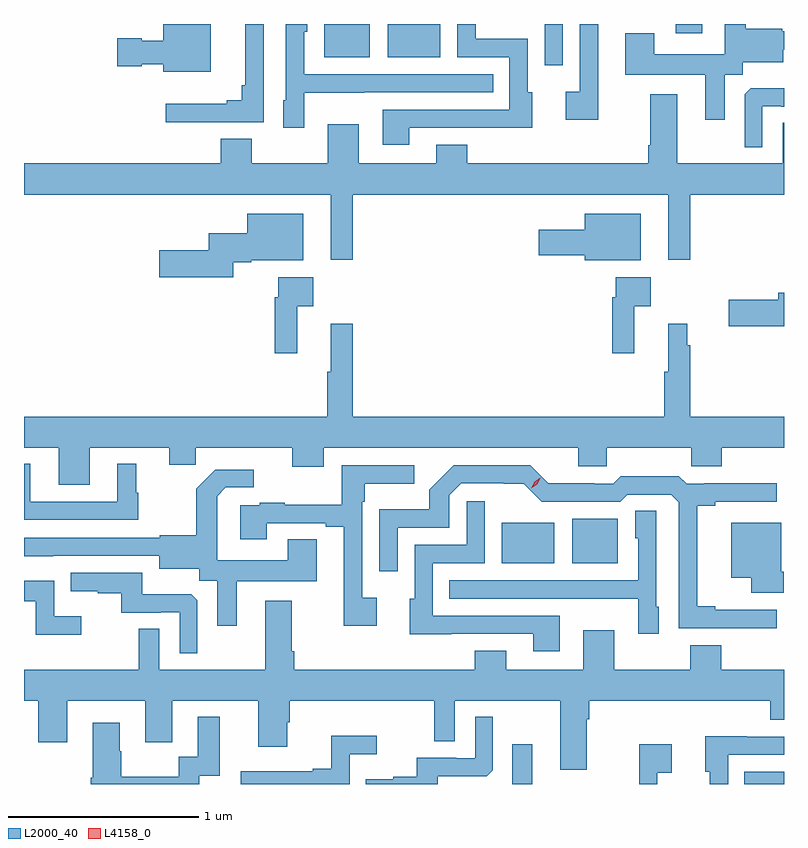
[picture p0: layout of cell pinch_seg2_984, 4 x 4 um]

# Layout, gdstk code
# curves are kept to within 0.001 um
import gdstk
lib = gdstk.Library(unit=1e-6, precision=1e-09)
def R(c, l, rs):  # rectangles x0, y0, x1, y1
    for r in rs: c.add(gdstk.rectangle(r[:2], r[2:], *l))
def P(c, l, *ps):  # polygons
    for p in ps: c.add(gdstk.Polygon(p, *l))
L2000_40 = (2000, 40)
L4158_0 = (4158, 0)

pinch_seg2_984 = lib.new_cell('pinch_seg2_984')
R(pinch_seg2_984, L2000_40, [(161.867,584.594,161.971,584.803), (163.087,584.594,163.296,584.658), (161.81,585.755,162.088,585.97), (162.182,585.755,162.421,585.991), (162.036,588.378,162.132,588.594), (160.877,588.419,161.116,588.594), (161.21,588.419,161.488,588.594), (162.725,588.546,162.865,588.594)])
P(pinch_seg2_984, L2000_40, [(162.319,588.594),(162.222,588.594),(162.222,588.238),(162.147,588.238),(162.147,588.09),(162.319,588.09)],
  [(160.279,588.594),(160.028,588.594),(160.028,588.505),(159.915,588.505),(159.915,588.518),(159.786,588.518),(159.786,588.371),(159.915,588.371),(159.915,588.383),(160.028,588.383),(160.028,588.344),(160.279,588.344)],
  [(160.557,588.594),(160.46,588.594),(160.46,588.271),(160.441,588.271),(160.441,588.194),(160.364,588.194),(160.364,588.175),(160.041,588.175),(160.041,588.078),(160.557,588.078)],
  [(162.985,588.328),(163.08,588.328),(163.08,588.392),(163.291,588.392),(163.291,588.459),(163.296,588.459),(163.296,588.555),(163.287,588.555),(163.287,588.568),(163.095,588.568),(163.095,588.594),(162.984,588.594),(162.984,588.436),(162.613,588.436),(162.613,588.545),(162.461,588.545),(162.461,588.326),(162.881,588.326),(162.881,588.09),(162.985,588.09)],
  [(160.77,588.233),(161.087,588.233),(161.087,588.234),(161.765,588.234),(161.765,588.33),(160.77,588.33),(160.77,588.552),(160.786,588.552),(160.786,588.594),(160.674,588.594),(160.674,588.192),(160.661,588.192),(160.661,588.048),(160.77,588.048)],
  [(161.323,588.048),(161.753,588.048),(161.753,588.047),(161.971,588.047),(161.971,588.234),(161.946,588.234),(161.946,588.516),(161.673,588.516),(161.673,588.594),(161.577,588.594),(161.577,588.42),(161.85,588.42),(161.85,588.144),(161.183,588.144),(161.183,587.958),(161.323,587.958)],
  [(163.182,588.162),(163.282,588.162),(163.282,588.159),(163.296,588.159),(163.296,588.257),(163.121,588.257),(163.089,588.225),(163.089,587.945),(163.182,587.945)],
  [(161.027,587.696),(162.686,587.696),(162.686,587.352),(162.803,587.352),(162.803,587.696),(163.296,587.696),(163.296,588.074),(163.29,588.074),(163.29,587.86),(162.733,587.86),(162.733,588.223),(162.593,588.223),(162.593,587.956),(162.581,587.956),(162.581,587.86),(161.629,587.86),(161.629,587.959),(161.465,587.959),(161.465,587.86),(161.059,587.86),(161.059,588.067),(160.895,588.067),(160.895,587.86),(160.495,587.86),(160.495,587.989),(160.331,587.989),(160.331,587.86),(159.296,587.86),(159.296,587.696),(160.91,587.696),(160.91,587.352),(161.027,587.352)],
  [(162.541,587.596),(162.248,587.596),(162.248,587.512),(162.006,587.512),(162.006,587.378),(162.248,587.378),(162.248,587.351),(162.541,587.351)],
  [(160.396,587.339),(160.492,587.339),(160.492,587.351),(160.765,587.351),(160.765,587.596),(160.472,587.596),(160.472,587.494),(160.268,587.494),(160.268,587.403),(160.008,587.403),(160.008,587.261),(160.396,587.261)],
  [(160.733,587.108),(160.819,587.108),(160.819,587.26),(160.635,587.26),(160.635,587.156),(160.615,587.156),(160.615,586.86),(160.733,586.86)],
  [(162.509,587.108),(162.595,587.108),(162.595,587.26),(162.411,587.26),(162.411,587.156),(162.391,587.156),(162.391,586.86),(162.509,586.86)],
  [(163.296,587.18),(163.265,587.18),(163.265,587.144),(163.005,587.144),(163.005,587.002),(163.296,587.002)],
  [(159.643,586.364),(160.061,586.364),(160.061,586.274),(160.199,586.274),(160.199,586.364),(160.709,586.364),(160.709,586.265),(160.873,586.265),(160.873,586.364),(162.212,586.364),(162.212,586.266),(162.363,586.266),(162.363,586.364),(162.808,586.364),(162.808,586.266),(162.968,586.266),(162.968,586.364),(163.296,586.364),(163.296,586.528),(162.803,586.528),(162.803,586.904),(162.786,586.904),(162.786,587.017),(162.686,587.017),(162.686,586.764),(162.667,586.764),(162.667,586.528),(161.027,586.528),(161.027,587.017),(160.91,587.017),(160.91,586.764),(160.891,586.764),(160.891,586.528),(159.296,586.528),(159.296,586.364),(159.479,586.364),(159.479,586.17),(159.643,586.17)],
  [(159.898,586.128),(159.886,586.128),(159.886,586.279),(159.788,586.279),(159.788,586.08),(159.328,586.08),(159.328,586.279),(159.296,586.279),(159.296,585.984),(159.898,585.984)],
  [(161.152,585.574),(161.076,585.574),(161.076,586.079),(161.089,586.079),(161.089,586.175),(161.35,586.175),(161.35,586.272),(160.968,586.272),(160.968,586.064),(160.669,586.064),(160.669,586.075),(160.537,586.075),(160.537,586.062),(160.433,586.062),(160.433,585.882),(160.573,585.882),(160.573,585.966),(160.883,585.966),(160.883,585.948),(160.979,585.948),(160.979,585.426),(161.152,585.426)],
  [(163.258,585.51),(162.934,585.51),(162.934,585.53),(162.839,585.53),(162.839,586.058),(162.934,586.058),(162.934,586.08),(163.258,586.08),(163.258,586.178),(162.877,586.178),(162.877,586.173),(162.783,586.173),(162.743,586.213),(162.436,586.213),(162.396,586.173),(162.296,586.173),(162.296,586.178),(162.056,586.178),(161.961,586.272),(161.558,586.272),(161.428,586.142),(161.428,586.039),(161.166,586.039),(161.166,585.714),(161.262,585.714),(161.262,585.942),(161.535,585.942),(161.535,586.113),(161.598,586.176),(161.927,586.175),(162.021,586.08),(162.435,586.08),(162.471,586.116),(162.702,586.116),(162.741,586.077),(162.741,585.414),(163.258,585.414)],
  [(160.417,585.662),(160.837,585.662),(160.837,585.881),(160.685,585.881),(160.685,585.772),(160.314,585.772),(160.314,586.013),(160.312,586.013),(160.312,586.108),(160.359,586.155),(160.504,586.155),(160.504,586.249),(160.303,586.249),(160.203,586.149),(160.203,585.904),(160.011,585.904),(160.011,585.891),(159.296,585.891),(159.296,585.794),(160.007,585.795),(160.007,585.728),(160.218,585.728),(160.218,585.664),(160.313,585.664),(160.313,585.426),(160.417,585.426)],
  [(162.115,585.48),(161.448,585.48),(161.448,585.756),(161.721,585.756),(161.721,586.081),(161.625,586.081),(161.625,585.852),(161.352,585.852),(161.352,585.57),(161.327,585.57),(161.327,585.383),(161.545,585.383),(161.545,585.384),(161.975,585.384),(161.975,585.294),(162.115,585.294)],
  [(162.637,585.528),(162.624,585.528),(162.624,586.031),(162.512,586.031),(162.512,585.888),(162.528,585.888),(162.528,585.666),(161.533,585.666),(161.533,585.57),(162.211,585.57),(162.211,585.569),(162.528,585.569),(162.528,585.384),(162.637,585.384)],
  [(163.295,585.712),(163.282,585.712),(163.282,585.97),(163.019,585.97),(163.019,585.68),(163.124,585.68),(163.124,585.6),(163.295,585.6)],
  [(160.209,585.561),(160.177,585.593),(159.919,585.593),(159.919,585.705),(159.541,585.705),(159.541,585.608),(159.685,585.608),(159.685,585.597),(159.809,585.597),(159.809,585.495),(160.016,585.495),(160.016,585.498),(160.116,585.498),(160.116,585.281),(160.209,585.281)],
  [(159.598,585.478),(159.456,585.478),(159.456,585.663),(159.296,585.663),(159.296,585.555),(159.358,585.555),(159.358,585.38),(159.598,585.38)],
  [(161.669,585.295),(161.669,585.196),(160.718,585.196),(160.718,585.292),(160.705,585.292),(160.705,585.559),(160.565,585.559),(160.565,585.196),(160.008,585.196),(160.008,585.41),(159.9,585.41),(159.9,585.196),(159.296,585.196),(159.296,585.032),(159.371,585.032),(159.371,584.814),(159.523,584.814),(159.523,585.032),(159.935,585.032),(159.935,584.814),(160.075,584.814),(160.075,585.032),(160.529,585.032),(160.529,584.79),(160.681,584.79),(160.681,584.919),(160.694,584.919),(160.694,585.032),(161.454,585.032),(161.454,584.818),(161.562,584.818),(161.562,585.032),(162.119,585.032),(162.119,584.67),(162.259,584.67),(162.259,584.936),(162.272,584.936),(162.272,585.032),(163.223,585.032),(163.223,584.933),(163.296,584.933),(163.296,585.196),(162.967,585.196),(162.967,585.325),(162.803,585.325),(162.803,585.196),(162.403,585.196),(162.403,585.403),(162.239,585.403),(162.239,585.196),(161.833,585.196),(161.833,585.295)],
  [(161.473,584.636),(161.731,584.636),(161.763,584.667),(161.763,584.947),(161.67,584.947),(161.67,584.73),(161.57,584.73),(161.57,584.733),(161.363,584.733),(161.363,584.632),(161.239,584.632),(161.239,584.62),(161.095,584.62),(161.095,584.594),(161.473,584.594)],
  [(160.218,584.637),(160.327,584.637),(160.327,584.947),(160.211,584.947),(160.211,584.738),(160.11,584.738),(160.11,584.632),(159.807,584.632),(159.807,584.766),(159.799,584.766),(159.799,584.917),(159.659,584.917),(159.659,584.628),(159.647,584.628),(159.647,584.594),(160.218,584.594)],
  [(161.01,584.75),(161.152,584.75),(161.152,584.849),(160.912,584.849),(160.912,584.674),(160.817,584.674),(160.817,584.661),(160.437,584.661),(160.437,584.594),(161.01,584.594)],
  [(163.002,584.748),(163.296,584.748),(163.296,584.844),(163.099,584.844),(163.099,584.846),(162.881,584.846),(162.881,584.658),(162.906,584.658),(162.906,584.594),(163.002,584.594)],
  [(162.63,584.654),(162.706,584.654),(162.706,584.803),(162.533,584.803),(162.533,584.594),(162.63,584.594)])
P(pinch_seg2_984, L4158_0, [(161.967,586.15),(161.967,586.151),(161.983,586.185),(162.013,586.206),(162.014,586.206),(162.014,586.206),(161.998,586.172),(161.967,586.15)])

lib.write_gds('pinch_seg2_984.gds')
